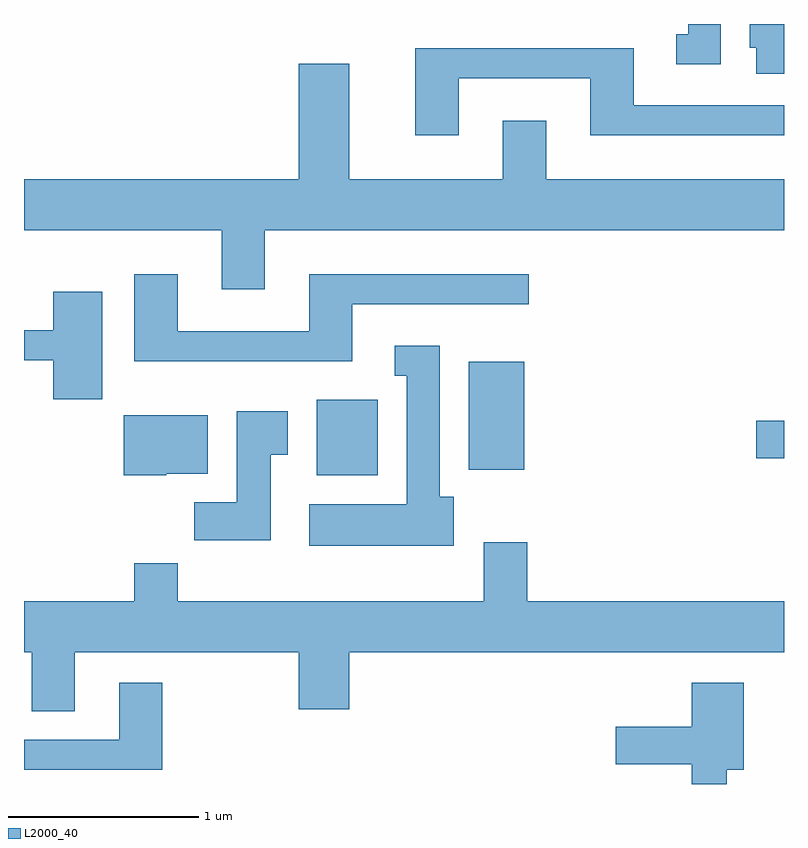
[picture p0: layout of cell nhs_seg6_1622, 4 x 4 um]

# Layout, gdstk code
import gdstk
lib = gdstk.Library(unit=1e-6, precision=1e-09)
def R(c, l, rs):  # rectangles x0, y0, x1, y1
    for r in rs: c.add(gdstk.rectangle(r[:2], r[2:], *l))
def P(c, l, *ps):  # polygons
    for p in ps: c.add(gdstk.Polygon(p, *l))
L2000_40 = (2000, 40)

nhs_seg6_1622 = lib.new_cell('nhs_seg6_1622')
R(nhs_seg6_1622, L2000_40, [(235.151,1619.786,235.474,1620.184), (235.951,1619.816,236.244,1620.384), (237.466,1619.876,237.611,1620.074)])
P(nhs_seg6_1622, L2000_40, [(237.279,1622.162),(237.106,1622.162),(237.106,1622.109),(237.043,1622.109),(237.043,1621.951),(237.279,1621.951)],
  [(237.611,1622.162),(237.431,1622.162),(237.431,1622.036),(237.466,1622.036),(237.466,1621.901),(237.611,1621.901)],
  [(235.899,1621.876),(236.591,1621.876),(236.591,1621.576),(237.611,1621.576),(237.611,1621.734),(236.819,1621.734),(236.819,1622.034),(235.671,1622.034),(235.671,1621.576),(235.899,1621.576)],
  [(234.879,1621.076),(237.611,1621.076),(237.611,1621.344),(236.359,1621.344),(236.359,1621.654),(236.131,1621.654),(236.131,1621.344),(235.324,1621.344),(235.324,1621.954),(235.056,1621.954),(235.056,1621.344),(233.611,1621.344),(233.611,1621.076),(234.651,1621.076),(234.651,1620.766),(234.879,1620.766)],
  [(235.339,1620.686),(236.268,1620.686),(236.268,1620.844),(235.111,1620.844),(235.111,1620.544),(234.419,1620.544),(234.419,1620.844),(234.191,1620.844),(234.191,1620.386),(235.339,1620.386)],
  [(234.024,1620.754),(233.766,1620.754),(233.766,1620.549),(233.611,1620.549),(233.611,1620.391),(233.766,1620.391),(233.766,1620.186),(234.024,1620.186)],
  [(235.874,1619.674),(235.799,1619.674),(235.799,1620.469),(235.563,1620.469),(235.563,1620.311),(235.626,1620.311),(235.626,1619.634),(235.111,1619.634),(235.111,1619.416),(235.874,1619.416)],
  [(234.909,1619.896),(234.999,1619.896),(234.999,1620.124),(234.731,1620.124),(234.731,1619.644),(234.506,1619.644),(234.506,1619.446),(234.909,1619.446)],
  [(234.36,1619.796),(234.579,1619.796),(234.579,1620.104),(234.136,1620.104),(234.136,1619.786),(234.36,1619.786)],
  [(233.879,1618.856),(235.056,1618.856),(235.056,1618.556),(235.324,1618.556),(235.324,1618.856),(237.611,1618.856),(237.611,1619.124),(236.259,1619.124),(236.259,1619.434),(236.031,1619.434),(236.031,1619.124),(234.419,1619.124),(234.419,1619.324),(234.191,1619.324),(234.191,1619.124),(233.611,1619.124),(233.611,1618.856),(233.651,1618.856),(233.651,1618.546),(233.879,1618.546)],
  [(234.339,1618.694),(234.111,1618.694),(234.111,1618.394),(233.611,1618.394),(233.611,1618.236),(234.339,1618.236)],
  [(237.309,1618.236),(237.399,1618.236),(237.399,1618.694),(237.126,1618.694),(237.126,1618.464),(236.726,1618.464),(236.726,1618.266),(237.126,1618.266),(237.126,1618.162),(237.309,1618.162)])

lib.write_gds('nhs_seg6_1622.gds')
